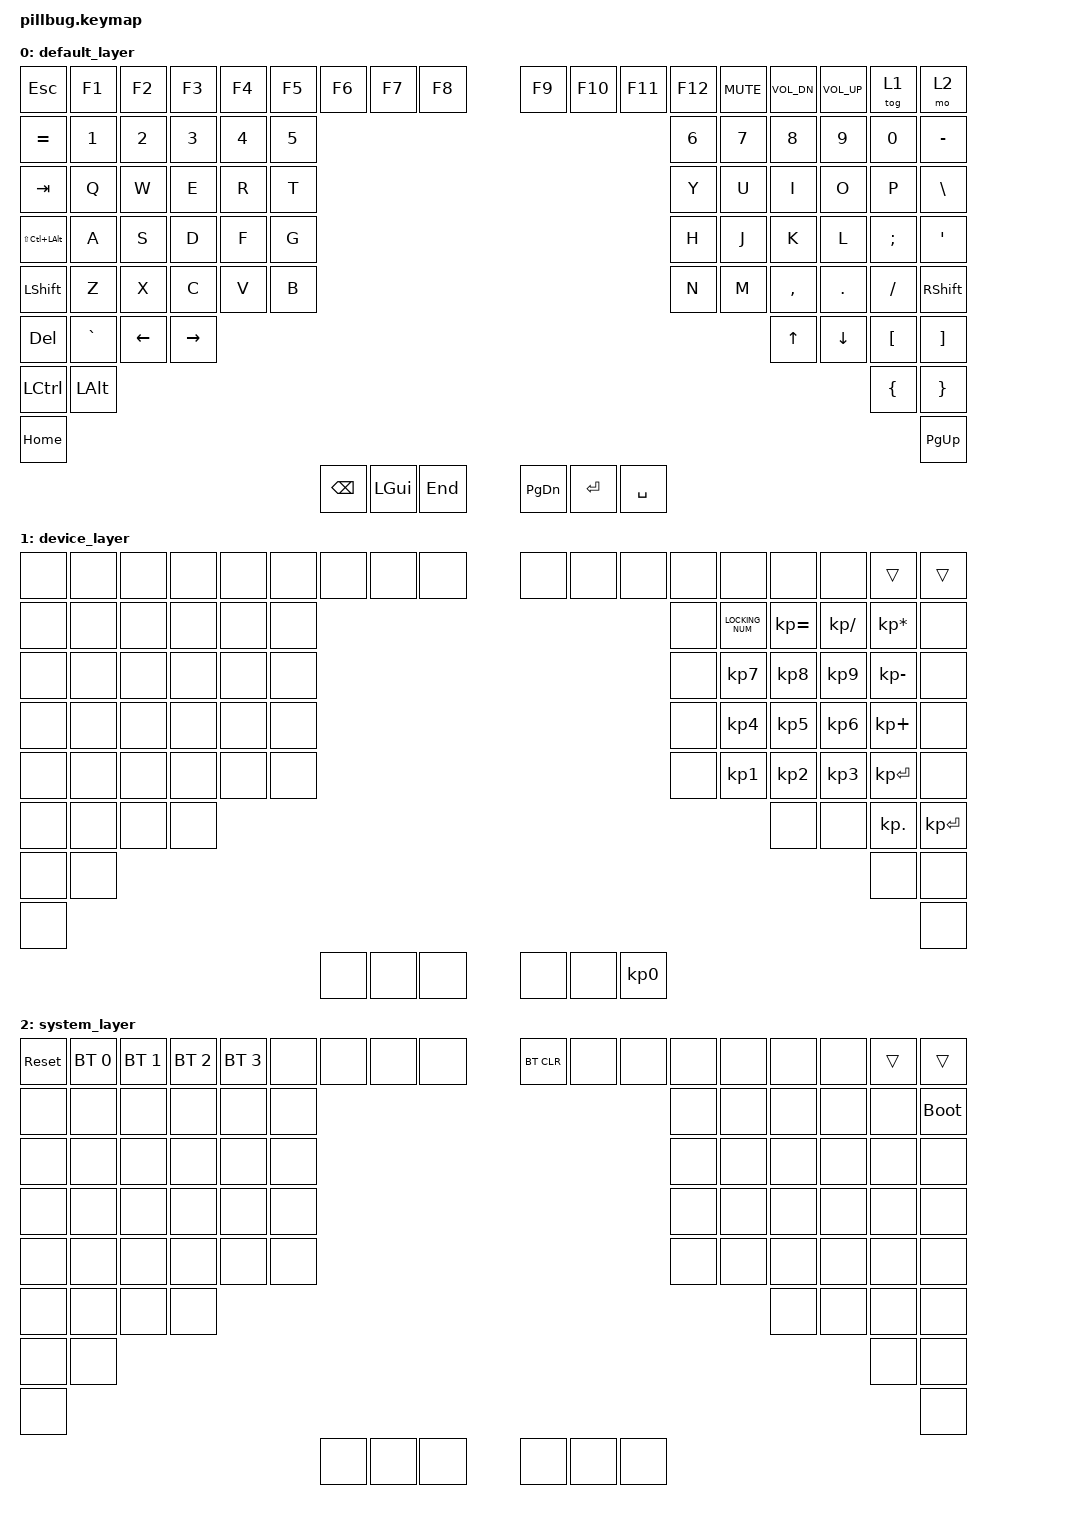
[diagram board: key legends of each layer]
/*
 * Copyright (c) 2020 The ZMK Contributors
 *
 * SPDX-License-Identifier: MIT
 */

#include <behaviors.dtsi>
#include <dt-bindings/zmk/keys.h>
#include <dt-bindings/zmk/backlight.h>
#include <dt-bindings/zmk/bt.h>
#include <dt-bindings/zmk/outputs.h>

#define MEH LS(LC(LALT))

/ 
{

    keymap {
        compatible = "zmk,keymap";

        default_layer {
            bindings = <
    &kp ESC        &kp F1        &kp F2        &kp F3        &kp F4        &kp F5        &kp F6        &kp F7        &kp F8        &kp F9        &kp F10       &kp F11       &kp F12       &kp C_MUTE      &kp C_VOL_DN   &kp C_VOL_UP   &tog 1        &mo 2
    &kp EQUAL      &kp N1        &kp N2        &kp N3        &kp N4        &kp N5                                                          &kp N6        &kp N7        &kp N8        &kp N9        &kp N0         &kp MINUS
    &kp TAB        &kp Q         &kp W         &kp E         &kp R         &kp T                                                           &kp Y         &kp U         &kp I         &kp O         &kp P          &kp BACKSLASH
    &kp MEH        &kp A         &kp S         &kp D         &kp F         &kp G                                                           &kp H         &kp J         &kp K         &kp L         &kp SEMICOLON  &kp SINGLE_QUOTE
    &kp LSHIFT     &kp Z         &kp X         &kp C         &kp V         &kp B                                                           &kp N         &kp M         &kp COMMA     &kp DOT       &kp SLASH      &kp RSHIFT
                   &kp DELETE    &kp GRAVE     &kp LEFT      &kp RIGHT                                                      &kp UP        &kp DOWN      &kp LBKT      &kp RBKT
                                               &kp LCTRL     &kp LALT          &kp LBRC      &kp RBRC
                                                             &kp HOME          &kp PG_UP
                                   &kp BSPC    &kp LGUI      &kp END            &kp PG_DN    &kp ENTER     &kp SPACE
            >;
        };
        
        device_layer {
            bindings = <
    &none  &none  &none  &none  &none  &none  &none  &none  &none                          &none  &none  &none  &none  &none  &none  &none  &trans  &trans
    &none  &none  &none  &none  &none  &none                                                                   &none  &kp LOCKING_NUM   &kp KP_EQUAL  &kp KP_SLASH  &kp KP_ASTERISK  &none
    &none  &none  &none  &none  &none  &none                                                                   &none  &kp KP_N7    &kp KP_N8    &kp KP_N9    &kp KP_MINUS  &none
    &none  &none  &none  &none  &none  &none                                                                   &none  &kp KP_N4    &kp KP_N5    &kp KP_N6    &kp KP_PLUS   &none
    &none  &none  &none  &none  &none  &none                                                                   &none  &kp KP_N1    &kp KP_N2    &kp KP_N3    &kp KP_ENTER  &none
           &none  &none  &none  &none                                                                                 &none  &none  &kp KP_DOT  &kp KP_ENTER
                                              &none  &none                                        &none  &none
                                                     &none                                        &none
                                       &none  &none  &none                                        &none  &none  &kp KP_N0
            >;
        };

        system_layer {
            bindings = <
    &sys_reset  &bt BT_SEL 0  &bt BT_SEL 1  &bt BT_SEL 2  &bt BT_SEL 3  &none  &none  &none  &none       &bt BT_CLR  &none  &none  &none  &none  &none  &none  &trans  &trans
    &none  &none  &none  &none  &none  &none                                                                   &none  &none  &none  &none  &none  &bootloader
    &none  &none  &none  &none  &none  &none                                                                   &none  &none  &none  &none  &none  &none
    &none  &none  &none  &none  &none  &none                                                                   &none  &none  &none  &none  &none  &none
    &none  &none  &none  &none  &none  &none                                                                   &none  &none  &none  &none  &none  &none
           &none  &none  &none  &none                                                                                 &none  &none  &none  &none
                                              &none  &none                                        &none  &none
                                                     &none                                        &none
                                  &none       &none  &none                                        &none  &none  &none
            >;
        };

    };
};
